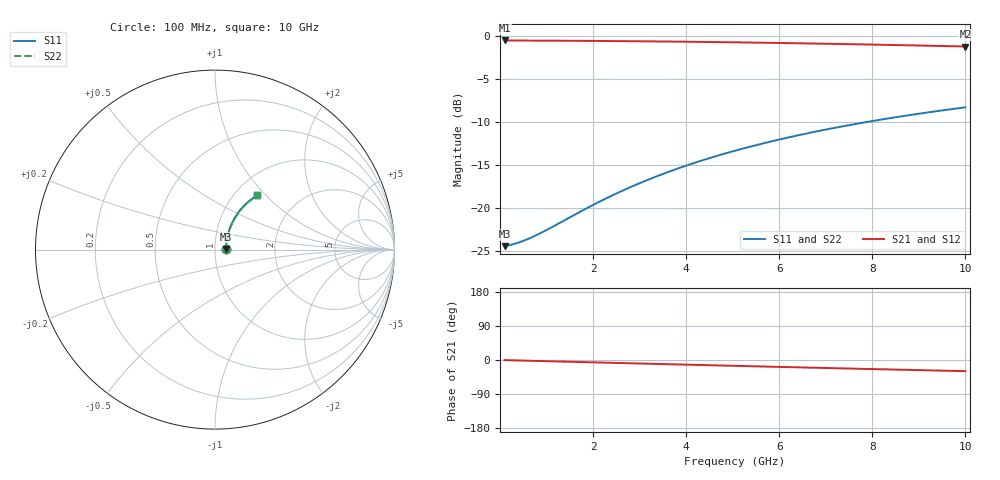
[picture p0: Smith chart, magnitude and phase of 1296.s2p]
# Hz S RI R 50.00
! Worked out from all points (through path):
!   100 points, 100 MHz to 10 GHz, reference 50 ohm
!   highest |S21| = -0.53 dB at 100 MHz (marker M1); lowest = -1.2 dB at 10 GHz (marker M2)
!   group delay of S21, straight-line fit = 8.19 ps
!   lowest |S11| = -24.5 dB at 100 MHz (marker M3), VSWR 1.13, Z = 56.3 + j0.438 ohm
!   |S11| at or under -10 dB: start of sweep to 7.911 GHz
!   |S22| runs from -24.5 to -8.3 dB; largest |S21 - S12| = 0
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1e8  0.0596 0.00387  0.9404 -0.00509  0.9404 -0.00509  0.0596 0.00387
3e8  0.0604 0.0116  0.9396 -0.0153  0.9396 -0.0153  0.0604 0.0116
4e8  0.0608 0.0154  0.9392 -0.0203  0.9392 -0.0203  0.0608 0.0154
5e8  0.0611 0.0193  0.9388 -0.0254  0.9388 -0.0254  0.0611 0.0193
7e8  0.0619 0.027  0.938 -0.0355  0.938 -0.0355  0.0619 0.027
1e9  0.0634 0.0385  0.9365 -0.0507  0.9365 -0.0507  0.0634 0.0385
1.8e9  0.0687 0.0687  0.931 -0.0907  0.931 -0.0907  0.0687 0.0687
2.2e9  0.0722 0.0836  0.9274 -0.1105  0.9274 -0.1105  0.0722 0.0836
2.6e9  0.0764 0.0983  0.9231 -0.1301  0.9231 -0.1301  0.0764 0.0983
3e9  0.0811 0.1127  0.9182 -0.1494  0.9182 -0.1494  0.0811 0.1127
3.4e9  0.0864 0.1268  0.9127 -0.1685  0.9127 -0.1685  0.0864 0.1268
3.8e9  0.0922 0.1407  0.9066 -0.1872  0.9066 -0.1872  0.0922 0.1407
4.2e9  0.0986 0.1542  0.9 -0.2057  0.9 -0.2057  0.0986 0.1542
4.6e9  0.1056 0.1674  0.8928 -0.2238  0.8928 -0.2238  0.1056 0.1674
5.1e9  0.1149 0.1834  0.883 -0.2459  0.883 -0.2459  0.1149 0.1834
5.5e9  0.1229 0.1957  0.8747 -0.2631  0.8747 -0.2631  0.1229 0.1957
5.9e9  0.1313 0.2076  0.8659 -0.2799  0.8659 -0.2799  0.1313 0.2076
6.7e9  0.1494 0.23  0.847 -0.3122  0.847 -0.3122  0.1494 0.23
7.5e9  0.1689 0.2506  0.8266 -0.3427  0.8266 -0.3427  0.1689 0.2506
8.4e9  0.1923 0.2714  0.8021 -0.3747  0.8021 -0.3747  0.1923 0.2714
9.2e9  0.2141 0.2878  0.7792 -0.4011  0.7792 -0.4011  0.2141 0.2878
1e10  0.2367 0.3022  0.7554 -0.4255  0.7554 -0.4255  0.2367 0.3022
